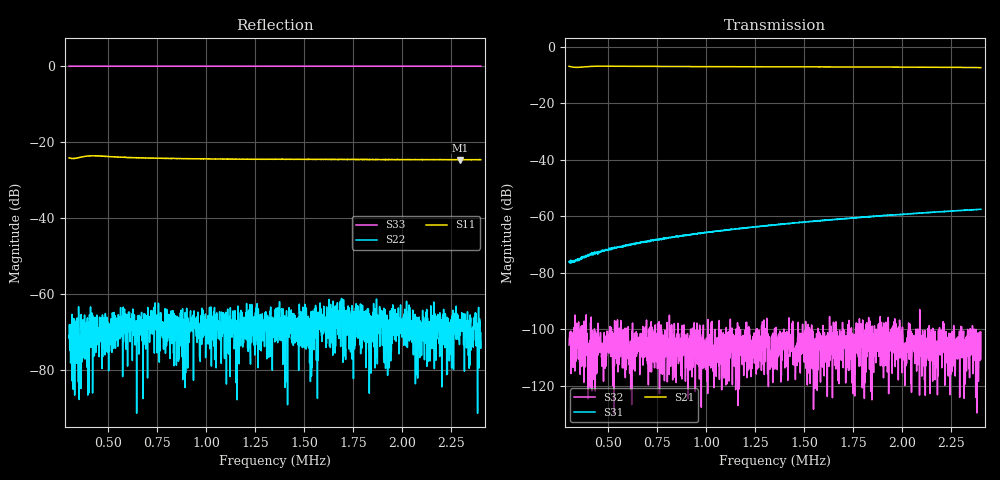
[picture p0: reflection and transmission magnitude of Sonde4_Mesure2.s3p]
#  HZ  S  DB  R  50.00
! Rohde & Schwarz Vector Network Analyzer
! Rohde-Schwarz,ZNB8-4Port,1311601044102961,2.82
! Created: UTC 10/29/2018, 10:38:25 AM
! freq[Hz]  db:S11  ang:S11  db:S12  ang:S12  db:S13  ang:S13
!  db:S21  ang:S21  db:S22  ang:S22  db:S23  ang:S23
!  db:S31  ang:S31  db:S32  ang:S32  db:S33  ang:S33
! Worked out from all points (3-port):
!   2001 points, 300 kHz to 2.4 MHz, reference 50 ohm
!   strongest paths, dB at 300 kHz, 825 kHz, 1.35 MHz, 1.875 MHz, 2.4 MHz:
!     S21: -7.0, -7.1, -7.2, -7.2, -7.4
!     S31: -76.2, -67.5, -63.1, -60.1, -57.6
!     S32: -105.6, -105.3, -103.3, -104.3, -110.5
!   lowest |S11| = -24.7 dB at 2.292 MHz (marker M1), VSWR 1.12, Z = 44.5 + j0.209 ohm
!   |S11| at or under -10 dB: start of sweep to end of sweep
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300000  -24.16 -139.1  -115.67 -130.8  -112.45 63.4
        -6.98 -111.8  -68.33 -68.4  -103.26 100.3
        -76.25 -26.2  -105.65 178.0  -0.00 -1.7
1350000  -24.55 -173.8  -104.46 54.1  -118.65 149.2
         -7.16 170.7  -70.38 -67.2  -110.79 111.3
         -63.09 -102.2  -103.26 -26.8  -0.00 -7.6
1528500  -24.54 -175.9  -102.27 -32.0  -105.39 -176.4
         -7.18 165.0  -67.50 -73.9  -105.95 178.0
         -61.83 -108.5  -117.02 -165.2  -0.00 -8.6
1683900  -24.58 -177.2  -108.60 155.8  -103.22 163.9
         -7.21 160.3  -67.78 -63.7  -121.13 45.4
         -61.02 -113.5  -106.57 159.3  -0.00 -9.5
1838250  -24.56 -179.0  -104.89 96.5  -113.38 -60.2
         -7.23 156.0  -71.30 -27.8  -104.92 -23.9
         -60.15 -118.3  -122.05 151.9  -0.00 -10.3
1884450  -24.64 -179.0  -102.52 5.4  -107.57 42.6
         -7.23 154.7  -73.88 -39.2  -108.66 158.7
         -59.94 -118.9  -100.14 -118.5  -0.00 -10.6
1924350  -24.64 -179.3  -122.92 81.6  -111.00 48.1
         -7.25 153.5  -81.53 -177.2  -107.58 -4.4
         -59.78 -119.9  -107.06 -71.7  -0.00 -10.8
1959000  -24.62 -179.8  -107.63 -120.4  -109.97 -153.0
         -7.26 152.5  -67.18 -99.8  -107.02 117.6
         -59.54 -121.5  -108.48 28.6  -0.00 -11.0
2291850  -24.70 177.7  -111.67 -159.4  -104.62 -72.8
         -7.38 143.8  -67.80 -75.1  -105.99 -148.9
         -58.06 -131.1  -124.13 -123.7  -0.00 -12.9
2400000  -24.66 177.3  -109.28 -102.9  -108.67 -167.7
         -7.44 141.1  -70.35 -97.7  -101.83 82.2
         -57.58 -134.1  -110.50 99.6  -0.00 -13.5
